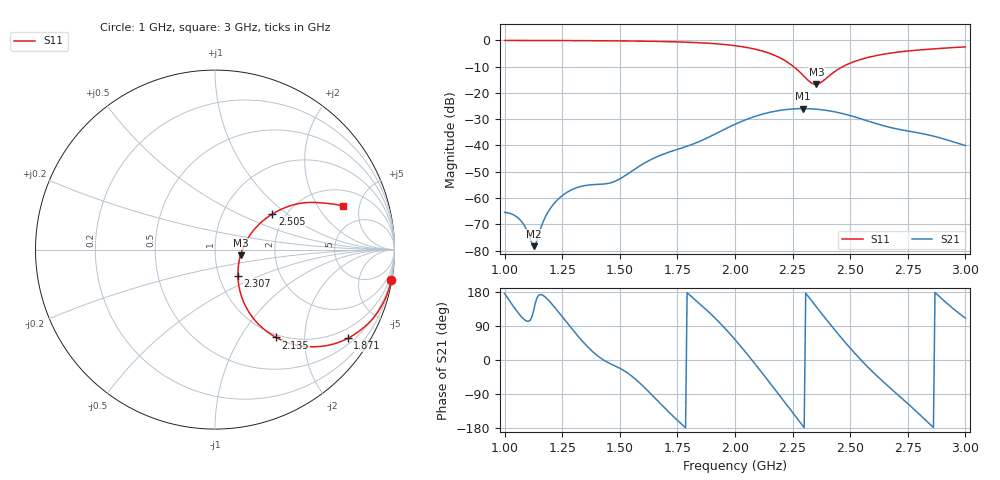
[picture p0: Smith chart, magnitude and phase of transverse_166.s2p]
! TOUCHSTONE file generated by CST MICROWAVE STUDIO
! Date and time: Tue Mar 11 13:57:18 2025
! Project name: transverse.cst
! Parameters = {Fracture=5; B=10; D=160; F=15; Feed=2.85625; L=100; M=30; R=0.384908; S=1; Theta=180; length=57.125; wave=114.25}
! Header version: 2024
! Port assignment regex: !\s*Touchstone port\s*([0-9]+)\s*=\s*(CST MWS port|CST DES external port|CST DES block port)\s*(.+)\s* \(\"(.*)\"\)(\s*mode\s*([0-9]+))?.*
! Touchstone port assignment:
! Touchstone port 1 = CST MWS port 1 ("")
! Touchstone port 2 = CST MWS port 2 ("")
# GHz S MA R 50
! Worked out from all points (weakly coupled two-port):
!   304 points, 1 GHz to 3 GHz, reference 50 ohm
!   highest |S21| = -25.97 dB at 2.294 GHz (marker M1); lowest = -78.4 dB at 1.125 GHz (marker M2)
!   lowest |S11| = -16.7 dB at 2.353 GHz (marker M3), VSWR 1.34, Z = 66.4 - j4.23 ohm
!   |S11| at or under -10 dB: 2.255 GHz to 2.467 GHz (212.8 MHz wide, 9.01 % of centre)
!   S12 and S22 are empty: the file has one direction only
!   S11 on the Smith chart (normalised r, x): 1 GHz: 0, -12; 1.871 GHz: 0.67, -3.17; 2.135 GHz: 0.96, -1.45; 2.307 GHz: 1.23, -0.37; 2.505 GHz: 1.71, +0.79; 3 GHz: 3.08, +3.43
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1  0.9975 -9.8  0.000533 175.7  0 0.0  0 0.0
1.07261  0.9967 -10.7  0.0003601 114.4  0 0.0  0 0.0
1.09241  0.9965 -11.0  0.0002652 103.8  0 0.0  0 0.0
1.12541  0.996 -11.5  0.0001209 129.1  0 0.0  0 0.0
1.13201  0.9959 -11.6  0.0001242 146.8  0 0.0  0 0.0
1.17162  0.9949 -12.3  0.000389 168.6  0 0.0  0 0.0
1.21122  0.9937 -12.9  0.0007517 143.3  0 0.0  0 0.0
1.27063  0.9918 -13.9  0.00128 98.3  0 0.0  0 0.0
1.33663  0.9895 -15.2  0.001681 50.4  0 0.0  0 0.0
1.47525  0.9809 -18.3  0.002043 -14.4  0 0.0  0 0.0
1.66667  0.9571 -24.2  0.006235 -109.1  0 0.0  0 0.0
1.87129  0.8901 -33.7  0.01338 135.0  0 0.0  0 0.0
2.0033  0.7898 -43.2  0.02571 51.5  0 0.0  0 0.0
2.13531  0.596 -55.2  0.04117 -47.8  0 0.0  0 0.0
2.22112  0.4018 -61.4  0.0482 -115.7  0 0.0  0 0.0
2.29373  0.2205 -54.0  0.05031 -173.3  0 0.0  0 0.0
2.30693  0.1928 -48.6  0.05026 176.3  0 0.0  0 0.0
2.33993  0.1484 -24.8  0.04955 150.4  0 0.0  0 0.0
2.35314  0.1456 -12.4  0.04905 140.1  0 0.0  0 0.0
2.50495  0.3768 31.8  0.03649 27.9  0 0.0  0 0.0
2.66997  0.569 27.4  0.02221 -71.9  0 0.0  0 0.0
3  0.7524 18.7  0.009936 110.4  0 0.0  0 0.0
